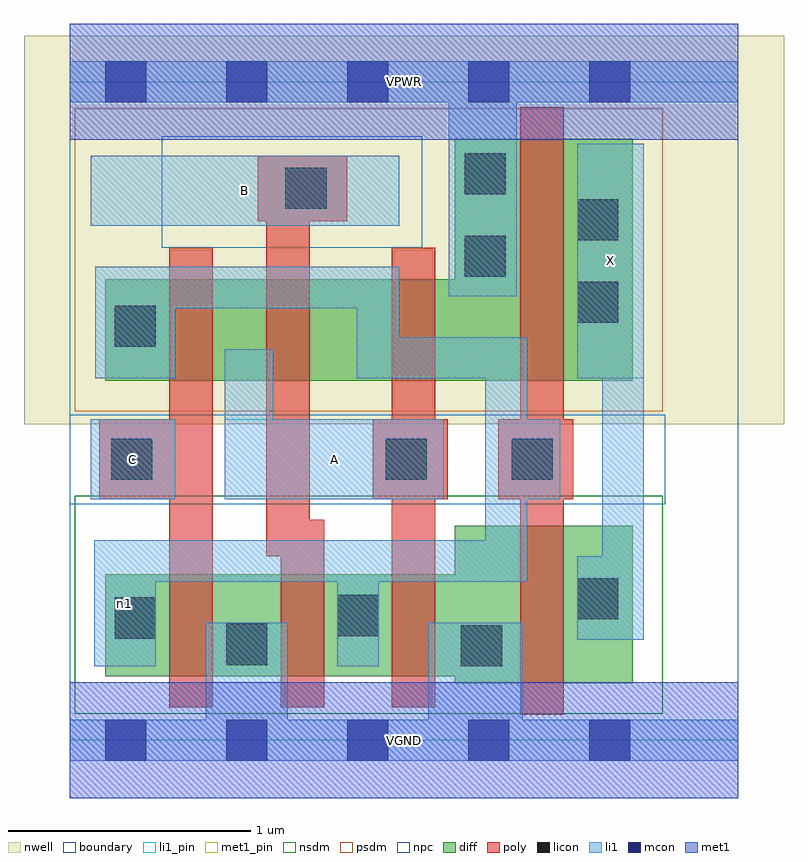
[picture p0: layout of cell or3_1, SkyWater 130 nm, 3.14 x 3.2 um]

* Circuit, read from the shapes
.subckt or3_1 A B C VGND VPWR X n1
XM1 VGND C n1 VSUBS sky130_fd_pr__nfet_01v8 w=0.42 l=0.18
XM2 n1 B VGND VSUBS sky130_fd_pr__nfet_01v8 w=0.42 l=0.18
XM3 VGND A n1 VSUBS sky130_fd_pr__nfet_01v8 w=0.42 l=0.18
XM4 X n1 VGND VSUBS sky130_fd_pr__nfet_01v8 w=0.65 l=0.18
XM5 n2 C n1 n3 sky130_fd_pr__pfet_01v8 w=0.42 l=0.18
XM6 n4 B n2 n3 sky130_fd_pr__pfet_01v8 w=0.42 l=0.18
XM7 VPWR A n4 n3 sky130_fd_pr__pfet_01v8 w=0.42 l=0.18
XM8 X n1 VPWR n3 sky130_fd_pr__pfet_01v8 w=1 l=0.18
.ends

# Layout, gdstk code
import gdstk
lib = gdstk.Library(unit=1e-6, precision=1e-09)
def R(c, l, rs):  # rectangles x0, y0, x1, y1
    for r in rs: c.add(gdstk.rectangle(r[:2], r[2:], *l))
def A(c, l, x, y, w, h, nx, ny, dx, dy):  # array of equal rectangles
    R(c, l, [(x+i*dx, y+j*dy, x+i*dx+w, y+j*dy+h) for i in range(nx) for j in range(ny)])
nwell = (64, 20)
diff = (65, 20)
poly = (66, 20)
licon = (66, 44)
li1_pin = (67, 16)
li1 = (67, 20)
mcon = (67, 44)
met1_pin = (68, 16)
met1 = (68, 20)
nsdm = (93, 44)
psdm = (94, 20)
npc = (95, 20)
boundary = (235, 4)

or3_1 = lib.new_cell('or3_1')
R(or3_1, nwell, [(-0.19,1.305,2.95,2.91), (0,1.305,2.76,2.91)])
R(or3_1, diff, [(1.59,0.235,2.325,0.885), (0.145,0.265,2.325,0.685), (0.145,1.485,2.325,1.905), (1.59,1.485,2.325,2.485)])
R(or3_1, poly, [(1.86,0.105,2.04,2.615), (0.41,0.135,0.59,2.035), (0.87,0.135,1.05,0.91), (1.33,0.135,1.51,2.035), (0.81,0.76,0.99,2.415), (0.12,0.995,0.59,1.325), (1.25,0.995,1.56,1.325), (1.77,0.995,2.08,1.325), (0.775,2.145,1.145,2.415)])
R(or3_1, licon, [(1.615,0.305,1.785,0.475), (0.645,0.31,0.815,0.48), (0.185,0.42,0.355,0.59), (1.105,0.43,1.275,0.6), (2.095,0.5,2.265,0.67), (0.17,1.075,0.34,1.245), (1.305,1.075,1.475,1.245), (1.825,1.075,1.995,1.245), (0.185,1.625,0.355,1.795), (2.095,1.725,2.265,1.895), (1.63,1.915,1.8,2.085), (2.095,2.065,2.265,2.235), (0.89,2.195,1.06,2.365), (1.63,2.255,1.8,2.425)])
R(or3_1, li1_pin, [(0.085,0.995,0.435,1.325), (0.64,0.995,1.545,1.325), (2.095,1.495,2.37,2.465), (0.085,2.125,1.36,2.415)])
R(or3_1, li1, [(0,-0.085,2.76,0.085), (0.56,-0.085,0.9,0.485), (1.48,-0.085,1.87,0.485), (0.1,0.305,0.355,0.825), (1.105,0.305,1.275,0.825), (2.095,0.415,2.37,0.76), (2.2,0.415,2.37,2.465), (0.1,0.655,1.89,0.825), (1.715,0.655,1.89,1.665), (0.085,0.995,0.435,1.325), (0.64,0.995,1.545,1.325), (0.64,0.995,0.84,1.615), (1.715,0.995,2.025,1.325), (0.105,1.495,0.435,1.955), (1.185,1.495,1.89,1.665), (1.185,1.495,1.36,1.955), (2.095,1.495,2.37,2.465), (0.105,1.785,1.36,1.955), (1.565,1.835,1.845,2.805), (0.085,2.125,1.36,2.415), (0,2.635,2.76,2.805)])
A(or3_1, mcon, 0.145, -0.085, 0.17, 0.17, 5, 2, 0.5, 2.72)
R(or3_1, met1_pin, [(0,-0.24,2.76,0.24), (0,2.48,2.76,2.96)])
R(or3_1, met1, [(0,-0.24,2.76,0.24), (0,2.48,2.76,2.96)])
R(or3_1, nsdm, [(0.02,0.11,2.45,1.01)])
R(or3_1, psdm, [(0.02,1.36,2.45,2.61)])
R(or3_1, npc, [(0,0.975,2.46,1.345), (0.38,2.035,1.455,2.495)])
R(or3_1, boundary, [(0,0,2.76,2.72)])
or3_1.add(gdstk.Label('A', (1.092,1.16), layer=67, texttype=5))
or3_1.add(gdstk.Label('B', (0.722,2.27), layer=67, texttype=5))
or3_1.add(gdstk.Label('C', (0.26,1.16), layer=67, texttype=5))
or3_1.add(gdstk.Label('X', (2.232,1.98), layer=67, texttype=5))
or3_1.add(gdstk.Label('n1', (0.227,0.565), layer=67, texttype=5))
or3_1.add(gdstk.Label('VPWR', (1.38,2.72), layer=68, texttype=5))
or3_1.add(gdstk.Label('VGND', (1.38,0), layer=68, texttype=5))
or3_1.add(gdstk.Label('A', (1.092,1.16), layer=67, texttype=16))
or3_1.add(gdstk.Label('B', (0.722,2.27), layer=67, texttype=16))
or3_1.add(gdstk.Label('C', (0.26,1.16), layer=67, texttype=16))
or3_1.add(gdstk.Label('X', (2.232,1.98), layer=67, texttype=16))
or3_1.add(gdstk.Label('VPWR', (1.38,2.72), layer=68, texttype=16))
or3_1.add(gdstk.Label('VGND', (1.38,0), layer=68, texttype=16))

lib.write_gds('or3_1.gds')
